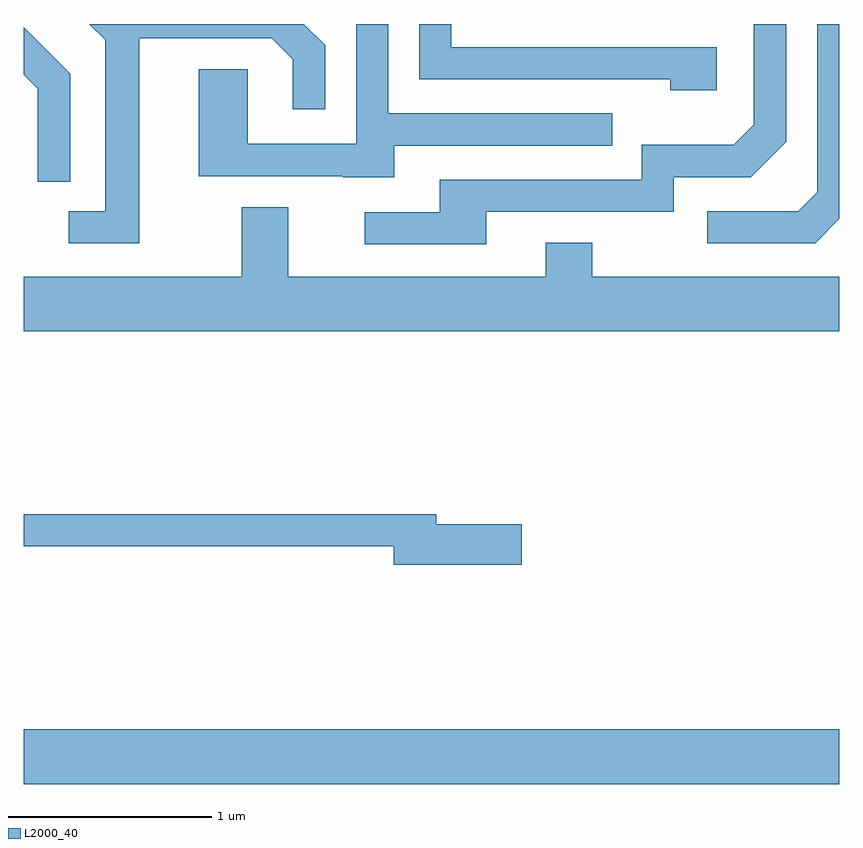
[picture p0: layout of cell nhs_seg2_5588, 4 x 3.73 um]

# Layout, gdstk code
import gdstk
lib = gdstk.Library(unit=1e-6, precision=1e-09)
def R(c, l, rs):  # rectangles x0, y0, x1, y1
    for r in rs: c.add(gdstk.rectangle(r[:2], r[2:], *l))
def P(c, l, *ps):  # polygons
    for p in ps: c.add(gdstk.Polygon(p, *l))
L2000_40 = (2000, 40)

nhs_seg2_5588 = lib.new_cell('nhs_seg2_5588')
R(nhs_seg2_5588, L2000_40, [(349.611,1066.076,353.611,1066.344)])
P(nhs_seg2_5588, L2000_40, [(353.611,1068.846),(353.611,1069.802),(353.501,1069.802),(353.501,1068.977),(353.409,1068.884),(352.963,1068.884),(352.963,1068.726),(353.492,1068.726)],
  [(353.009,1069.689),(351.709,1069.689),(351.709,1069.802),(351.551,1069.802),(351.551,1069.531),(352.781,1069.531),(352.781,1069.476),(353.009,1069.476)],
  [(351.879,1068.881),(352.799,1068.881),(352.799,1069.051),(353.177,1069.051),(353.349,1069.224),(353.349,1069.802),(353.191,1069.802),(353.191,1069.307),(353.094,1069.209),(352.641,1069.209),(352.641,1069.039),(351.651,1069.039),(351.651,1068.879),(351.283,1068.879),(351.283,1068.721),(351.879,1068.721)],
  [(350.179,1069.731),(350.829,1069.731),(350.931,1069.629),(350.931,1069.383),(351.089,1069.383),(351.089,1069.697),(350.984,1069.802),(349.933,1069.802),(350.011,1069.724),(350.011,1068.884),(349.833,1068.884),(349.833,1068.726),(350.179,1068.726)],
  [(351.429,1069.206),(352.498,1069.206),(352.498,1069.364),(351.399,1069.364),(351.399,1069.802),(351.241,1069.802),(351.241,1069.214),(350.709,1069.214),(350.709,1069.579),(350.471,1069.579),(350.471,1069.056),(351.175,1069.056),(351.175,1069.051),(351.429,1069.051)],
  [(349.839,1069.557),(349.611,1069.785),(349.611,1069.554),(349.681,1069.484),(349.681,1069.028),(349.839,1069.028)],
  [(353.611,1068.564),(352.399,1068.564),(352.399,1068.729),(352.171,1068.729),(352.171,1068.564),(350.909,1068.564),(350.909,1068.904),(350.681,1068.904),(350.681,1068.564),(349.611,1068.564),(349.611,1068.296),(353.611,1068.296)],
  [(352.054,1067.349),(351.634,1067.349),(351.634,1067.399),(349.611,1067.399),(349.611,1067.241),(351.426,1067.241),(351.426,1067.151),(352.054,1067.151)])

lib.write_gds('nhs_seg2_5588.gds')
